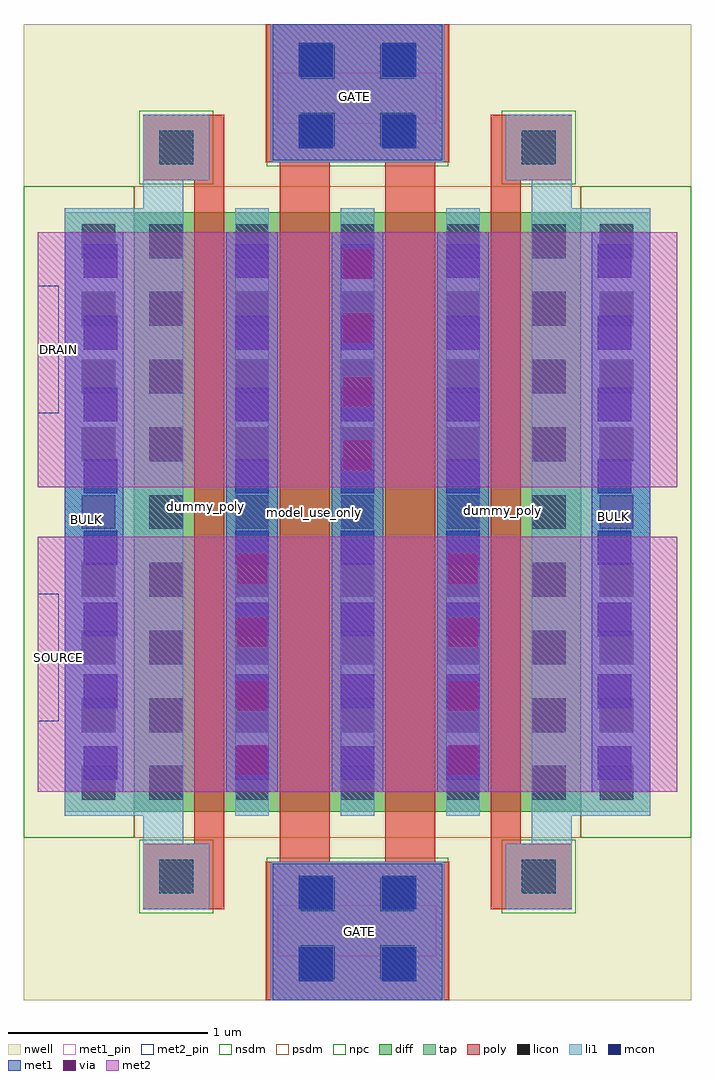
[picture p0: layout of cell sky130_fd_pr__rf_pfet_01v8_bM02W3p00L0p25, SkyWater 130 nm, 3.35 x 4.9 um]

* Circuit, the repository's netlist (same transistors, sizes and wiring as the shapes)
* Copyright 2020 The SkyWater PDK Authors
*
* Licensed under the Apache License, Version 2.0 (the "License");
* you may not use this file except in compliance with the License.
* You may obtain a copy of the License at
*
*     https://www.apache.org/licenses/LICENSE-2.0
*
* Unless required by applicable law or agreed to in writing, software
* distributed under the License is distributed on an "AS IS" BASIS,
* WITHOUT WARRANTIES OR CONDITIONS OF ANY KIND, either express or implied.
* See the License for the specific language governing permissions and
* limitations under the License.
*
* SPDX-License-Identifier: Apache-2.0


.subckt sky130_fd_pr__rf_pfet_01v8_bM02W3p00L0p25 BULK DRAIN GATE SOURCE
X0 SOURCE BULK BULK BULK sky130_fd_pr__pfet_01v8 w=3.01e+06u l=150000u
X1 SOURCE GATE DRAIN BULK sky130_fd_pr__pfet_01v8 w=3.01e+06u l=250000u
X2 BULK BULK SOURCE BULK sky130_fd_pr__pfet_01v8 w=3.01e+06u l=150000u
X3 DRAIN GATE SOURCE BULK sky130_fd_pr__pfet_01v8 w=3.01e+06u l=250000u
.ends

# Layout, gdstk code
import gdstk
lib = gdstk.Library(unit=1e-6, precision=1e-09)
def R(c, l, rs):  # rectangles x0, y0, x1, y1
    for r in rs: c.add(gdstk.rectangle(r[:2], r[2:], *l))
def A(c, l, x, y, w, h, nx, ny, dx, dy):  # array of equal rectangles
    R(c, l, [(x+i*dx, y+j*dy, x+i*dx+w, y+j*dy+h) for i in range(nx) for j in range(ny)])
nwell = (64, 20)
diff = (65, 20)
tap = (65, 44)
poly = (66, 20)
licon = (66, 44)
li1 = (67, 20)
mcon = (67, 44)
met1_pin = (68, 16)
met1 = (68, 20)
via = (68, 44)
met2_pin = (69, 16)
met2 = (69, 20)
nsdm = (93, 44)
psdm = (94, 20)
npc = (95, 20)

sky130_fd_pr__rf_pfet_01 = lib.new_cell('sky130_fd_pr__rf_pfet_01v8_bM02W3p00L0p25')
R(sky130_fd_pr__rf_pfet_01, nwell, [(0,0,3.35,4.9)])
R(sky130_fd_pr__rf_pfet_01, diff, [(0.555,0.945,2.795,3.955)])
R(sky130_fd_pr__rf_pfet_01, tap, [(0.205,0.945,0.555,3.955), (2.795,0.945,3.145,3.955)])
R(sky130_fd_pr__rf_pfet_01, poly, [(1.215,0,2.135,0.695), (0.6,0.455,0.93,0.785), (0.855,0.455,1.005,4.445), (2.345,0.455,2.495,4.445), (2.42,0.455,2.75,0.785), (1.285,0.695,1.535,4.205), (1.815,0.695,2.065,4.205), (0.6,4.115,0.93,4.445), (2.42,4.115,2.75,4.445), (1.215,4.205,2.135,4.9)])
A(sky130_fd_pr__rf_pfet_01, licon, 0.29, 1.005, 0.17, 0.17, 1, 9, 0, 0.34)
A(sky130_fd_pr__rf_pfet_01, licon, 0.63, 1.005, 0.17, 0.17, 1, 9, 0, 0.34)
A(sky130_fd_pr__rf_pfet_01, licon, 1.06, 1.005, 0.17, 0.17, 3, 9, 0.53, 0.34)
A(sky130_fd_pr__rf_pfet_01, licon, 2.55, 1.005, 0.17, 0.17, 1, 9, 0, 0.34)
A(sky130_fd_pr__rf_pfet_01, licon, 2.89, 1.005, 0.17, 0.17, 1, 9, 0, 0.34)
R(sky130_fd_pr__rf_pfet_01, licon, [(1.39,0.105,1.56,0.275), (1.79,0.105,1.96,0.275), (1.39,0.445,1.56,0.615), (1.79,0.445,1.96,0.615), (0.68,0.535,0.85,0.705), (2.5,0.535,2.67,0.705), (0.68,4.195,0.85,4.365), (2.5,4.195,2.67,4.365), (1.39,4.285,1.56,4.455), (1.79,4.285,1.96,4.455), (1.39,4.625,1.56,4.795), (1.79,4.625,1.96,4.795)])
A(sky130_fd_pr__rf_pfet_01, li1, 1.06, 0.925, 0.17, 3.05, 3, 1, 0.53, 0)
R(sky130_fd_pr__rf_pfet_01, li1, [(1.24,0,2.11,0.695), (0.6,0.455,0.93,0.785), (2.42,0.455,2.75,0.785), (0.6,0.785,0.8,0.925), (2.55,0.785,2.75,0.925), (0.205,0.925,0.8,3.975), (2.55,0.925,3.145,3.975), (0.6,3.975,0.8,4.115), (2.55,3.975,2.75,4.115), (0.6,4.115,0.93,4.445), (2.42,4.115,2.75,4.445), (1.24,4.205,2.11,4.9)])
A(sky130_fd_pr__rf_pfet_01, mcon, 0.3, 1.105, 0.17, 0.17, 1, 8, 0, 0.36)
A(sky130_fd_pr__rf_pfet_01, mcon, 1.06, 1.105, 0.17, 0.17, 3, 8, 0.53, 0.36)
A(sky130_fd_pr__rf_pfet_01, mcon, 2.88, 1.105, 0.17, 0.17, 1, 8, 0, 0.36)
R(sky130_fd_pr__rf_pfet_01, mcon, [(1.38,0.095,1.55,0.265), (1.8,0.095,1.97,0.265), (1.38,0.455,1.55,0.625), (1.8,0.455,1.97,0.625), (1.38,4.275,1.55,4.445), (1.8,4.275,1.97,4.445), (1.38,4.635,1.55,4.805), (1.8,4.635,1.97,4.805)])
R(sky130_fd_pr__rf_pfet_01, met1_pin, [(1.275,0.22,2.07,0.475), (0.205,2.33,0.5,2.48), (2.85,2.345,3.145,2.495), (1.275,4.4,2.07,4.655)])
A(sky130_fd_pr__rf_pfet_01, met1, 1.015, 1.045, 0.26, 2.81, 3, 1, 0.53, 0)
R(sky130_fd_pr__rf_pfet_01, met1, [(1.25,0,2.1,0.685), (0.205,1.045,0.5,3.855), (1.015,1.045,1.275,2.325), (2.075,1.045,2.335,2.325), (2.85,1.045,3.145,3.855), (1.545,2.575,1.805,3.855), (1.25,4.215,2.1,4.9)])
A(sky130_fd_pr__rf_pfet_01, via, 1.07, 1.13, 0.15, 0.15, 1, 4, 0, 0.32)
A(sky130_fd_pr__rf_pfet_01, via, 2.13, 1.13, 0.15, 0.15, 1, 4, 0, 0.32)
A(sky130_fd_pr__rf_pfet_01, via, 1.6, 2.66, 0.15, 0.15, 1, 4, 0, 0.32)
R(sky130_fd_pr__rf_pfet_01, met2_pin, [(0.07,1.4,0.175,2.04), (0.07,2.945,0.175,3.585)])
R(sky130_fd_pr__rf_pfet_01, met2, [(0.07,1.045,3.28,2.325), (1.015,1.045,1.275,2.325), (2.075,1.045,2.335,2.325), (0.07,2.575,3.28,3.855), (1.545,2.575,1.805,3.855)])
R(sky130_fd_pr__rf_pfet_01, nsdm, [(0,0.815,0.555,4.085), (2.795,0.815,3.35,4.085)])
R(sky130_fd_pr__rf_pfet_01, psdm, [(0.555,0.815,2.795,4.085)])
R(sky130_fd_pr__rf_pfet_01, npc, [(1.22,0,2.13,0.715), (0.58,0.435,0.95,0.805), (2.4,0.435,2.77,0.805), (0.58,4.095,0.95,4.465), (2.4,4.095,2.77,4.465), (1.22,4.185,2.13,4.9)])
sky130_fd_pr__rf_pfet_01.add(gdstk.Label('dummy_poly', (0.91,2.48), layer=83, texttype=44))
sky130_fd_pr__rf_pfet_01.add(gdstk.Label('dummy_poly', (2.405,2.46), layer=83, texttype=44))
sky130_fd_pr__rf_pfet_01.add(gdstk.Label('GATE', (1.685,0.345), layer=68, texttype=5))
sky130_fd_pr__rf_pfet_01.add(gdstk.Label('GATE', (1.66,4.535), layer=68, texttype=5))
sky130_fd_pr__rf_pfet_01.add(gdstk.Label('BULK', (0.315,2.41), layer=68, texttype=16))
sky130_fd_pr__rf_pfet_01.add(gdstk.Label('BULK', (2.96,2.425), layer=68, texttype=16))
sky130_fd_pr__rf_pfet_01.add(gdstk.Label('model_use_only', (1.46,2.45), layer=66, texttype=83))
sky130_fd_pr__rf_pfet_01.add(gdstk.Label('model_use_only', (1.89,2.45), layer=66, texttype=83))
sky130_fd_pr__rf_pfet_01.add(gdstk.Label('model_use_only', (0.915,2.45), layer=66, texttype=83))
sky130_fd_pr__rf_pfet_01.add(gdstk.Label('model_use_only', (2.405,2.45), layer=66, texttype=83))
sky130_fd_pr__rf_pfet_01.add(gdstk.Label('SOURCE', (0.175,1.72), layer=69, texttype=5))
sky130_fd_pr__rf_pfet_01.add(gdstk.Label('DRAIN', (0.175,3.265), layer=69, texttype=5))

lib.write_gds('sky130_fd_pr__rf_pfet_01v8_bM02W3p00L0p25.gds')
